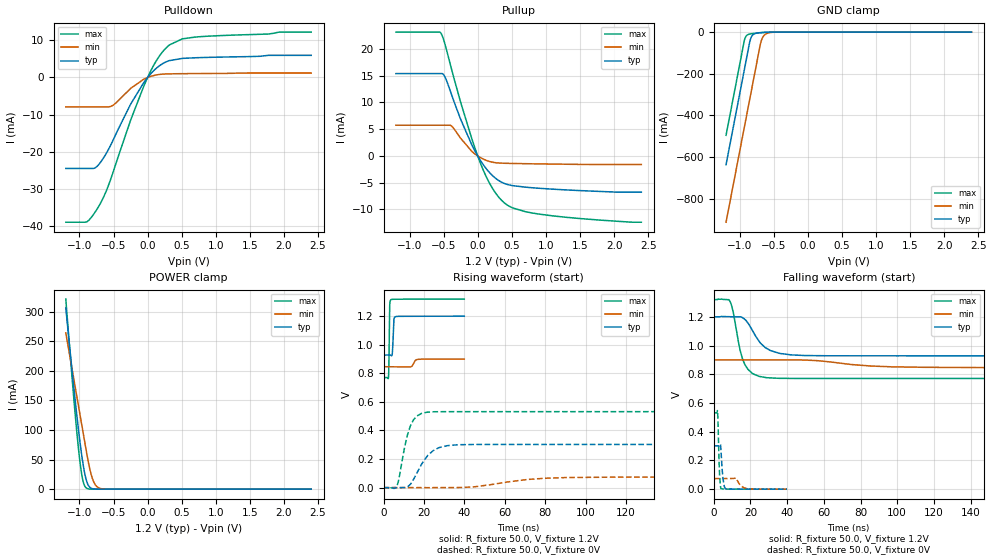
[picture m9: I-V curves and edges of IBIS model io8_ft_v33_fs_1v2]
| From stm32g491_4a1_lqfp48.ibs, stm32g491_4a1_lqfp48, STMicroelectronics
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[Model]   io8_ft_v33_fs_1v2
Model_type I/O
Polarity   Non-Inverting
Enable   Active-Low
| CAP_THRESHOLD on pad IOFT is "UDTCAPC" :
| Rising=30.0% of vddiom   Falling=70.0% of vddiom
| C_comp min and max val. don't necessarily correlate with the min and max pvt
| but are the smallest and greatest pad capacitance found.
| var   typ   min   max
C_comp   1.89801pF  1.82363pF  1.89868pF
|C_comp_pullup   1.10145pF  1.05680pF  1.08550pF
|C_comp_pulldown   796.56000fF  766.82501fF  813.17501fF
Vinl = 270.0mV
Vinh = 924.0mV
Vmeas = 600.0mV   | Reference voltage for timing measurements
Cref  = 50.0pF   | Timing specification test load capacitance value
Rref  = 100.0MOhm   | Timing specification test load resistance value
Vref  = 600.0mV   | Timing specification test load voltage
[Model Spec]
| TIME_THRESHOLD on pin ZIV33M is "CMOS" :
| Rising=50.0% of vddiom   Falling=50.0% of vddiom
Vinl 458.70000mV 364.70000mV 499.70000mV
Vinh 728.30000mV 548.30000mV 792.30000mV
| variable   typ   min   max
[Temperature Range] 25.0 140.0 -40.0
| variable   typ   min   max
[Voltage Range] 1.2V 900.0mV 1.32V
| variable   typ   min   max
[POWER Clamp Reference] 1.2V 900.0mV 1.32V
| variable   typ   min   max
[GND Clamp Reference] 0V 0V 0V
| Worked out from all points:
|   slope of the pulldown table from 0 to 0.18 V, typ, clamps not added: 55.6 ohm
|   slope of the pullup table from 0 to 0.18 V, typ, clamps not added: 56.3 ohm
|   GND clamp passes 1 mA (typ) near -0.61 V on its own axis
|   POWER clamp passes 1 mA (typ) near -0.81 V on its own axis
|   rising waveform, R_fixture 50.0, V_fixture 1.2V: 20-80 % time 435ps typ, 1.26ns min, 276ps max; typ from 0.928 V to 1.2 V
|   falling waveform, R_fixture 50.0, V_fixture 1.2V: 20-80 % time 9.23ns typ, 25.1ns min, 5.56ns max; typ from 1.2 V to 0.928 V
|   rising waveform, R_fixture 50.0, V_fixture 0V: 20-80 % time 8.21ns typ, 22.9ns min, 4.88ns max; typ from 0 V to 0.302 V
|   falling waveform, R_fixture 50.0, V_fixture 0V: 20-80 % time 1.14ns typ, 2.95ns min, 782ps max; typ from 0.302 V to 0 V
[POWER Clamp]
-1.2V     306.2mA    263.9mA    321.2mA
-1.09V    180mA      191mA      163.4mA
-1.05V    136.9mA    164.5mA    110.9mA
-1.01V    96.55mA    138mA      64.02mA
-960mV    52.29mA    104.9mA    20.68mA
-930mV    31.08mA    85.01mA    7.282mA
-900mV    15.67mA    65.13mA    2.025mA
-850mV    3.417mA    35.2mA     196.2uA
-800mV    570.2uA    14.97mA    18.13uA
-750mV    88.98uA    4.952mA    1.667uA
-680mV    6.495uA    823.9uA    58.96nA
2.4V      0A         0A         0A
[GND Clamp]
-1.2V     -636.9mA   -913.2mA   -495.8mA
-940mV    -194.9mA   -471.2mA   -53.78mA
-920mV    -160.9mA   -437.2mA   -28.06mA
-890mV    -109.9mA   -386.2mA   -14.28mA
-850mV    -43.09mA   -318.2mA   -9.18mA
-820mV    -18.33mA   -267.2mA   -7.516mA
-780mV    -7.695mA   -199.2mA   -5.87mA
-690mV    -2.548mA   -49.42mA   -2.9mA
-660mV    -1.868mA   -24.06mA   -2.112mA
-630mV    -1.326mA   -12.18mA   -1.447mA
-430mV    -19.32uA   -177.8uA   -8.091uA
2.4V      298.5pA    77.04nA    207.1pA
| variable   typ   min   max
[Pullup Reference] 1.2V 900.0mV 1.32V
| variable   typ   min   max
[Pulldown Reference] 0V 0V 0V
[Pullup]
-1.2V     15.4mA     5.746mA    23.16mA
-540mV    15.4mA     5.746mA    22.96mA
-480mV    14.75mA    5.746mA    20.88mA
-390mV    11.69mA    5.65mA     16.52mA
-250mV    6.833mA    3.296mA    10.02mA
-90mV     2.161mA    908.6uA    3.352mA
30mV      -637.7uA   -235.8uA   -1.032mA
220mV     -3.712mA   -1.175mA   -6.128mA
410mV     -5.232mA   -1.372mA   -8.966mA
510mV     -5.544mA   -1.401mA   -9.708mA
900mV     -6.043mA   -1.482mA   -10.87mA
2.4V      -6.768mA   -1.593mA   -12.38mA
[Pulldown]
-1.2V     -24.47mA   -7.9mA     -38.94mA
-890mV    -24.47mA   -7.9mA     -38.83mA
-720mV    -23.49mA   -7.9mA     -34.76mA
-610mV    -20.54mA   -7.9mA     -30.69mA
-510mV    -17.01mA   -7.49mA    -25.69mA
-250mV    -7.205mA   -2.955mA   -11.53mA
0V        -15fA      0A         0A
160mV     2.97mA     779.9uA    5.417mA
320mV     4.547mA    983.4uA    8.763mA
510mV     5.135mA    1.031mA    10.4mA
700mV     5.311mA    1.057mA    10.88mA
2.4V      5.965mA    1.209mA    12.22mA
[Ramp]
dV/dt_r 181.27144mV/8.21329ns 44.07302mV/22.93227ns 319.20523mV/4.88069ns
dV/dt_f 162.92478mV/9.23157ns 32.18167mV/25.06315ns 329.57784mV/5.56443ns
R_load = 50.0
| Removed startup time: 0s 0s 0s  .
| Removed end time: 39.9ns.
[Rising Waveform]
R_fixture   = 50.0
V_fixture   = 1.2V
V_fixture_min = 900.0mV
V_fixture_max = 1.32V
0s        928.4mV    846.4mV    770.7mV
2.4ns     928.6mV    846.4mV    771.7mV
2.6ns     928.6mV    846.4mV    868.3mV
2.9ns     928.6mV    846.4mV    1.224V
3ns       928.4mV    846.4mV    1.277V
3.5ns     926.3mV    846.4mV    1.314V
4.3ns     941.8mV    846.4mV    1.318V
5ns       1.168V     846.4mV    1.319V
5.7ns     1.196V     846.4mV    1.319V
39.9ns    1.2V       899.8mV    1.32V
| Removed startup time: 0s 0s 0s  .
| Removed end time: 199.9ns.
[Falling Waveform]
R_fixture   = 50.0
V_fixture   = 1.2V
V_fixture_min = 900.0mV
V_fixture_max = 1.32V
0s        1.2V       900mV      1.32V
8.5ns     1.201V     900mV      1.315V
10.6ns    1.2V       899.9mV    1.233V
15.6ns    1.194V     900.4mV    908.9mV
18.5ns    1.159V     900.4mV    835.6mV
24.6ns    1.032V     900.2mV    785.4mV
30.9ns    965mV      900mV      774.4mV
49.5ns    930.4mV    898.9mV    770.7mV
97.1ns    928.5mV    851.7mV    770.7mV
199.9ns   928.5mV    846.4mV    770.7mV
| Removed startup time: 0s 0s 0s  .
| Removed end time: 199.9ns.
[Rising Waveform]
R_fixture   = 50.0
V_fixture   = 0V
V_fixture_min = 0V
V_fixture_max = 0V
0s        -2.591uV   2.341uV    -6.108uV
6.5ns     -426.8uV   -450.5nV   8.507mV
10.5ns    539.4uV    15.68uV    291.8mV
13.1ns    21.15mV    -50.86uV   428.2mV
16.4ns    101.4mV    -1.262mV   500.9mV
21.3ns    215.4mV    -75.56uV   527.7mV
27.4ns    280mV      -31.07uV   531.6mV
37.1ns    300.4mV    754.7uV    532mV
90.6ns    302.1mV    70.55mV    532mV
199.9ns   302.1mV    73.46mV    532mV
| Removed startup time: 0s 0s 0s  .
| Removed end time: 39.9ns.
[Falling Waveform]
R_fixture   = 50.0
V_fixture   = 0V
V_fixture_min = 0V
V_fixture_max = 0V
0s        302.1mV    73.45mV    532mV
2.1ns     301.9mV    73.46mV    544.2mV
3ns       302mV      73.46mV    149.4mV
3.5ns     313.2mV    73.46mV    34.65mV
3.9ns     277mV      73.46mV    4.126mV
5.1ns     67.86mV    73.46mV    1.352mV
6.4ns     2.101mV    73.44mV    767.6uV
11.9ns    328.5uV    77.17mV    318.4uV
18.4ns    264.6uV    1.865mV    67.66uV
39.9ns    15.11uV    77.78uV    6.378uV
